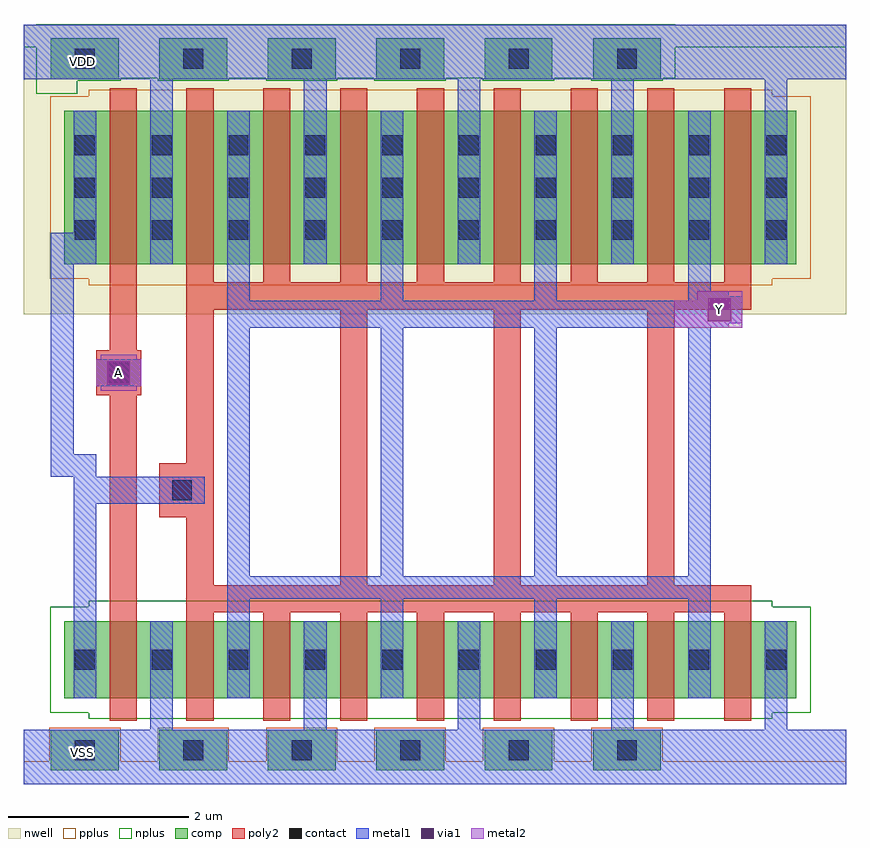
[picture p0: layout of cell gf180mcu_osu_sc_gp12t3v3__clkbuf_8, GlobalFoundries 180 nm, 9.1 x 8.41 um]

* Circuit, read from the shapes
.subckt gf180mcu_osu_sc_gp12t3v3__clkbuf_8 A VDD VSS Y
XM1 VSS A n1 VSS nfet_03v3 w=0.85u l=0.3u
XM2 Y n1 VSS VSS nfet_03v3 w=0.85u l=0.3u m=8
XM3 VDD A n1 VDD pfet_03v3 w=1.7u l=0.3u
XM4 Y n1 VDD VDD pfet_03v3 w=1.7u l=0.3u m=8
.ends

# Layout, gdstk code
import gdstk
lib = gdstk.Library(unit=1e-6, precision=1e-09)
def R(c, l, rs):  # rectangles x0, y0, x1, y1
    for r in rs: c.add(gdstk.rectangle(r[:2], r[2:], *l))
def A(c, l, x, y, w, h, nx, ny, dx, dy):  # array of equal rectangles
    R(c, l, [(x+i*dx, y+j*dy, x+i*dx+w, y+j*dy+h) for i in range(nx) for j in range(ny)])
nwell = (21, 0)
comp = (22, 0)
poly2 = (30, 0)
pplus = (31, 0)
nplus = (32, 0)
contact = (33, 0)
metal1 = (34, 0)
via1 = (35, 0)
metal2 = (36, 0)

gf180mcu_osu_sc_gp12t3v3 = lib.new_cell('gf180mcu_osu_sc_gp12t3v3__clkbuf_8')
R(gf180mcu_osu_sc_gp12t3v3, nwell, [(0,5.2,9.1,8.4)])
A(gf180mcu_osu_sc_gp12t3v3, comp, 0.3, 0.15, 0.75, 0.45, 6, 2, 1.2, 7.65)
R(gf180mcu_osu_sc_gp12t3v3, comp, [(0.45,0.95,8.55,1.8), (0.45,5.75,8.55,7.45)])
A(gf180mcu_osu_sc_gp12t3v3, poly2, 1.8, 0.7, 0.3, 1.2, 8, 1, 0.85, 0)
A(gf180mcu_osu_sc_gp12t3v3, poly2, 3.5, 2.2, 0.3, 3.05, 3, 1, 1.7, 0)
A(gf180mcu_osu_sc_gp12t3v3, poly2, 1.8, 5.55, 0.3, 2.15, 8, 1, 0.85, 0)
R(gf180mcu_osu_sc_gp12t3v3, poly2, [(0.95,0.7,1.25,4.3), (1.8,1.9,8.05,2.2), (1.8,2.2,2.1,2.95), (1.5,2.95,2.1,3.55), (1.8,3.55,2.1,5.25), (0.8,4.3,1.3,4.8), (0.95,4.8,1.25,7.7), (1.8,5.25,8.05,5.55)])
A(gf180mcu_osu_sc_gp12t3v3, pplus, 0.28, 0.13, 0.79, 0.49, 6, 1, 1.2, 0)
R(gf180mcu_osu_sc_gp12t3v3, pplus, [(0,0,9.1,0.25), (0.72,5.52,8.28,5.59), (0.29,5.59,8.71,7.61), (0.72,7.61,8.28,7.68)])
A(gf180mcu_osu_sc_gp12t3v3, nplus, 1.48, 7.78, 0.79, 0.03, 5, 1, 1.2, 0)
R(gf180mcu_osu_sc_gp12t3v3, nplus, [(0.72,0.72,8.28,0.79), (0.29,0.79,8.71,1.96), (0.72,1.96,8.28,2.03), (0.14,7.64,0.59,7.78), (0.14,7.78,1.07,7.81), (0.14,7.81,7.21,8.15), (0,8.15,9.1,8.4), (0,8.15,9.1,8.4), (0.14,8.4,7.21,8.41)])
A(gf180mcu_osu_sc_gp12t3v3, contact, 0.565, 0.265, 0.22, 0.22, 6, 2, 1.2, 7.65)
A(gf180mcu_osu_sc_gp12t3v3, contact, 0.565, 1.265, 0.22, 0.22, 10, 2, 0.85, 4.755)
A(gf180mcu_osu_sc_gp12t3v3, contact, 0.565, 6.49, 0.22, 0.22, 10, 2, 0.85, 0.47)
R(gf180mcu_osu_sc_gp12t3v3, contact, [(1.64,3.14,1.86,3.36), (0.94,4.44,1.16,4.66)])
A(gf180mcu_osu_sc_gp12t3v3, metal1, 1.4, 0.6, 0.25, 1.2, 5, 1, 1.7, 0)
A(gf180mcu_osu_sc_gp12t3v3, metal1, 2.25, 0.95, 0.25, 1.1, 4, 1, 1.7, 0)
A(gf180mcu_osu_sc_gp12t3v3, metal1, 2.25, 2.3, 0.25, 2.75, 4, 1, 1.7, 0)
A(gf180mcu_osu_sc_gp12t3v3, metal1, 2.25, 5.35, 0.25, 2.1, 3, 1, 1.7, 0)
A(gf180mcu_osu_sc_gp12t3v3, metal1, 1.4, 5.75, 0.25, 2.05, 5, 1, 1.7, 0)
R(gf180mcu_osu_sc_gp12t3v3, metal1, [(0,0,9.1,0.6), (0.55,0.95,0.8,3.1), (2.25,2.05,7.6,2.3), (0.55,3.1,2,3.4), (0.3,3.4,0.8,3.65), (0.3,3.65,0.55,5.75), (0.8,4.4,1.3,4.7), (2.25,5.05,7.8,5.1), (2.25,5.1,7.95,5.35), (7.35,5.35,7.95,5.4), (7.35,5.4,7.8,5.45), (7.35,5.45,7.6,7.45), (0.3,5.75,0.8,6.1), (0.55,6.1,0.8,7.45), (0,7.8,9.1,8.4)])
R(gf180mcu_osu_sc_gp12t3v3, via1, [(0.92,4.42,1.18,4.68), (7.57,5.12,7.83,5.38)])
R(gf180mcu_osu_sc_gp12t3v3, metal2, [(0.85,4.35,1.25,4.4), (0.8,4.4,1.3,4.7), (0.85,4.7,1.25,4.75), (7.2,5.05,7.95,5.35), (7.45,5.35,7.95,5.45)])
gf180mcu_osu_sc_gp12t3v3.add(gdstk.Label('A', (1.05,4.55), layer=36, texttype=10))
gf180mcu_osu_sc_gp12t3v3.add(gdstk.Label('Y', (7.7,5.25), layer=36, texttype=10))
gf180mcu_osu_sc_gp12t3v3.add(gdstk.Label('VDD', (0.65,8), layer=34, texttype=10))
gf180mcu_osu_sc_gp12t3v3.add(gdstk.Label('VSS', (0.65,0.35), layer=34, texttype=10))

lib.write_gds('gf180mcu_osu_sc_gp12t3v3__clkbuf_8.gds')
